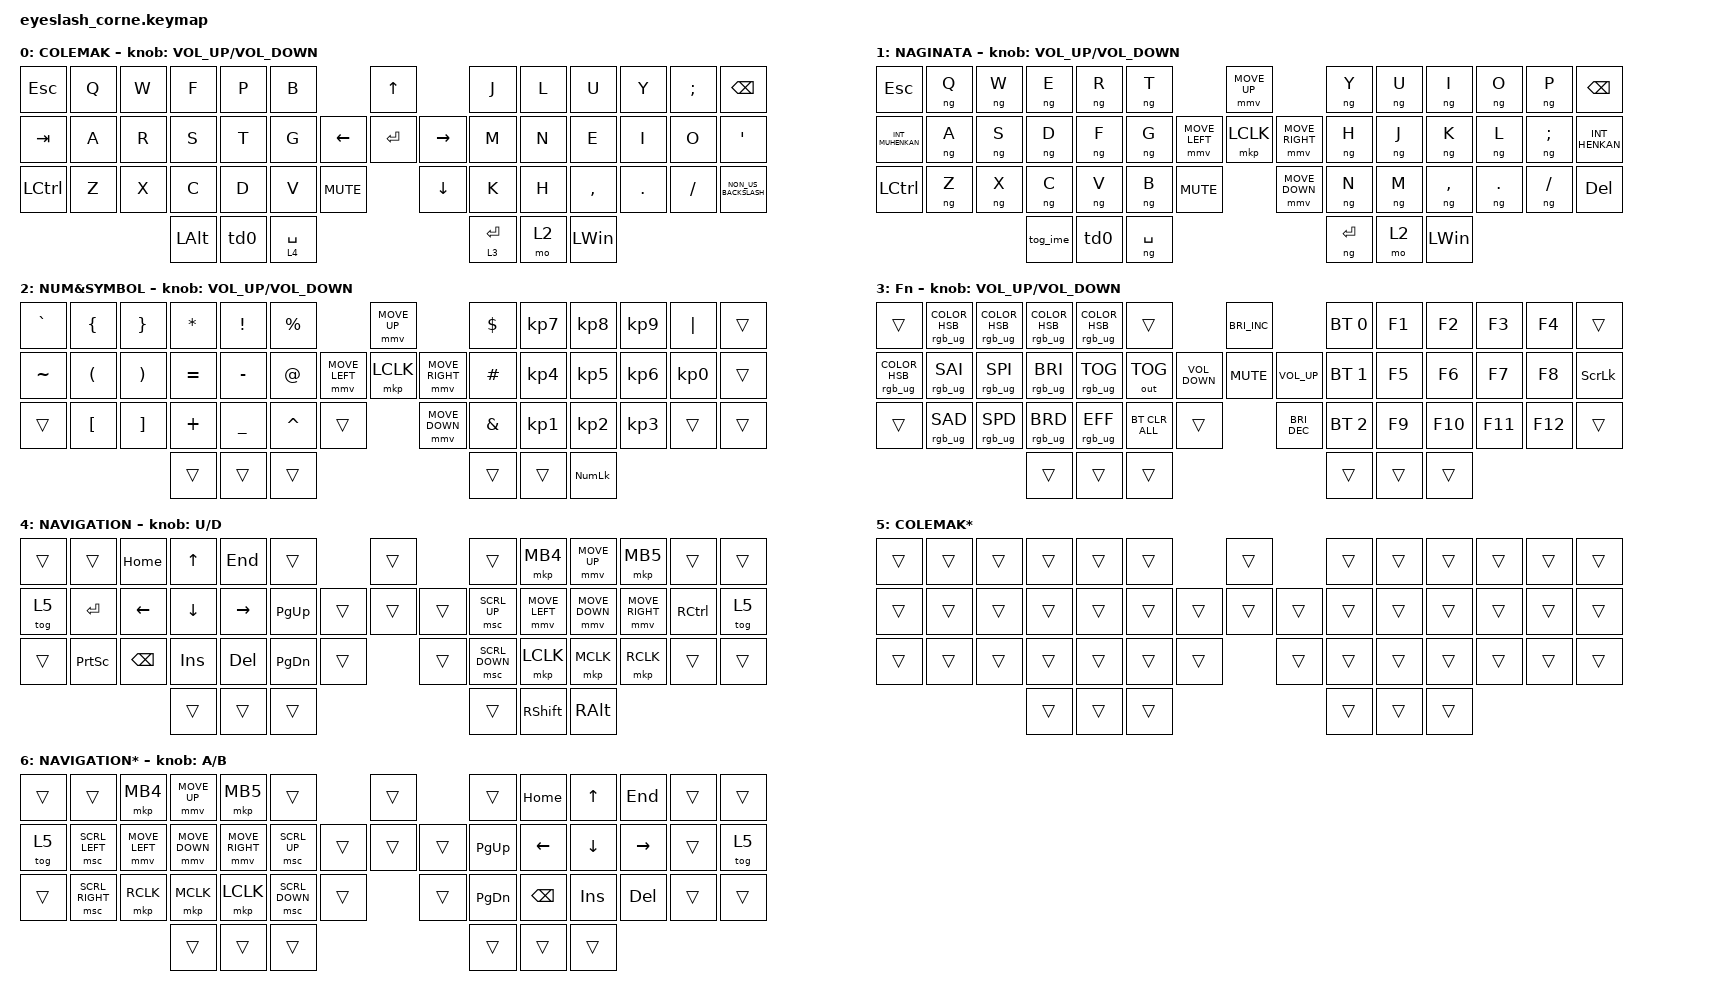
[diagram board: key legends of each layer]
#define ZMK_POINTING_DEFAULT_MOVE_VAL 600  // 600
#define ZMK_POINTING_DEFAULT_SCRL_VAL 25   // 10

#include <input/processors.dtsi>
#include <zephyr/dt-bindings/input/input-event-codes.h>
#include <behaviors/naginata.dtsi>
#include <behaviors.dtsi>
#include <dt-bindings/zmk/bt.h>
#include <dt-bindings/zmk/keys.h>
#include <dt-bindings/zmk/outputs.h>
#include <dt-bindings/zmk/pointing.h>
#include <dt-bindings/zmk/rgb.h>

&mmv_input_listener { input-processors = <&zip_xy_scaler 2 1>; };

&msc_input_listener { input-processors = <&zip_scroll_scaler 2 1>; };

&msc {
    acceleration-exponent = <1>;      // 0
    time-to-max-speed-ms = <100>;       // 300
    delay-ms = <0>;                   // 0
};

&mmv {
    time-to-max-speed-ms = <750>;
    acceleration-exponent = <1>;
    trigger-period-ms = <16>;
};

/ {
    macros {
        to_ng: ng_on {
            compatible = "zmk,behavior-macro";
            #binding-cells = <0>;
            bindings =
                <&macro_tap>,
                <&kp LANGUAGE_1 &kp INTERNATIONAL_4 &to 1>,
                <&macro_press>,
                <&kp LALT &kp LSHIFT>,
                <&macro_tap>,
                <&kp NUMBER_1>,
                <&macro_release>,
                <&kp LALT &kp LSHIFT>;
        };

        to_colemak: ng_off {
            compatible = "zmk,behavior-macro";
            #binding-cells = <0>;
            bindings =
                <&macro_tap>,
                <&kp LANGUAGE_2 &kp INTERNATIONAL_5 &to 0>,
                <&macro_press>,
                <&kp LALT &kp LSHIFT>,
                <&macro_tap>,
                <&kp N0>,
                <&macro_release>,
                <&kp LALT &kp LSHIFT>;
        };

        tog_ime: tog_ime {
            compatible = "zmk,behavior-macro";
            #binding-cells = <0>;
            bindings =
                <&macro_press>,
                <&kp LEFT_ALT>,
                <&macro_tap>,
                <&kp GRAVE>,
                <&macro_release>,
                <&kp LEFT_ALT>;

            label = "TOG_IME";
        };
    };

    sensors {
        compatible = "zmk,keymap-sensors";
        sensors = <&left_encoder>;
        triggers-per-rotation = <20>;
    };

    behaviors {
        td0: td0 {
            compatible = "zmk,behavior-tap-dance";
            display-name = "Shift/Caps Lock Tap Dance";
            #binding-cells = <0>;
            bindings = <&kp LEFT_SHIFT>, <&kp CAPS>;
        };
    };

    rgb_encoder: rgb_encoder {
        compatible = "zmk,behavior-sensor-rotate";
        #sensor-binding-cells = <0>;
        bindings = <&rgb_ug RGB_BRI>, <&rgb_ug RGB_BRD>;
    };

    scroll_encoder: scroll_encoder {
        compatible = "zmk,behavior-sensor-rotate";
        #sensor-binding-cells = <0>;
        bindings = <&msc SCRL_DOWN>, <&msc SCRL_UP>;

        tap-ms = <100>;
    };

    combos {
        compatible = "zmk,combos";

        combo_ng_on {
            timeout-ms = <300>;
            key-positions = <42 47>;
            bindings = <&to_ng>;
            layers = <0>;
        };

        combo_to_eng {
            timeout-ms = <300>;
            key-positions = <42 47>;
            bindings = <&to_colemak>;
            layers = <1>;
        };
    };

    keymap {
        compatible = "zmk,keymap";

        default_layer {
            display-name = "COLEMAK";
            bindings = <
&kp ESC    &kp Q  &kp W  &kp F         &kp P  &kp B                                &kp UP                &kp J        &kp L  &kp U         &kp Y    &kp SEMICOLON  &kp BACKSPACE
&kp TAB    &kp A  &kp R  &kp S         &kp T  &kp G                      &kp LEFT  &kp ENTER  &kp RIGHT  &kp M        &kp N  &kp E         &kp I    &kp O          &kp SQT
&kp LCTRL  &kp Z  &kp X  &kp C         &kp D  &kp V        &kp C_MUTE              &kp DOWN              &kp K        &kp H  &kp COMMA     &kp DOT  &kp FSLH       &kp NON_US_BACKSLASH
                         &kp LEFT_ALT  &td0   &lt 4 SPACE                                                &lt 3 ENTER  &mo 2  &kp LEFT_WIN
            >;

            sensor-bindings = <&inc_dec_kp C_VOLUME_UP C_VOLUME_DOWN>;
        };

        japanese_layer {
            display-name = "NAGINATA";
            bindings = <
&kp ESCAPE        &ng Q  &ng W  &ng E     &ng R  &ng T                                    &mmv MOVE_UP                     &ng Y      &ng U  &ng I         &ng O    &ng P      &kp BACKSPACE
&kp INT_MUHENKAN  &ng A  &ng S  &ng D     &ng F  &ng G                    &mmv MOVE_LEFT  &mkp LCLK       &mmv MOVE_RIGHT  &ng H      &ng J  &ng K         &ng L    &ng SEMI   &kp INT_HENKAN
&kp LCTRL         &ng Z  &ng X  &ng C     &ng V  &ng B      &kp C_MUTE                    &mmv MOVE_DOWN                   &ng N      &ng M  &ng COMMA     &ng DOT  &ng SLASH  &kp DEL
                                &tog_ime  &td0   &ng SPACE                                                                 &ng ENTER  &mo 2  &kp LEFT_WIN
            >;

            sensor-bindings = <&inc_dec_kp C_VOLUME_UP C_VOLUME_DOWN>;
        };

        raise_layer {
            display-name = "NUM&SYMBOL";
            bindings = <
&kp GRAVE  &kp LEFT_BRACE        &kp RIGHT_BRACE        &kp ASTERISK  &kp EXCLAMATION  &kp PERCENT                            &mmv MOVE_UP                     &kp DOLLAR     &kp KP_N7        &kp KP_N8       &kp KP_N9  &kp PIPE   &trans
&kp TILDE  &kp LEFT_PARENTHESIS  &kp RIGHT_PARENTHESIS  &kp EQUAL     &kp MINUS        &kp AT_SIGN            &mmv MOVE_LEFT  &mkp LCLK       &mmv MOVE_RIGHT  &kp HASH       &kp KP_N4        &kp KP_N5       &kp KP_N6  &kp KP_N0  &trans
&trans     &kp LEFT_BRACKET      &kp RIGHT_BRACKET      &kp PLUS      &kp UNDERSCORE   &kp CARET    &trans                    &mmv MOVE_DOWN                   &kp AMPERSAND  &kp KP_NUMBER_1  &kp KP_N2       &kp KP_N3  &trans     &trans
                                                        &trans        &trans           &trans                                                                  &trans         &trans           &kp KP_NUMLOCK
            >;

            sensor-bindings = <&inc_dec_kp C_VOLUME_UP C_VOLUME_DOWN>;
        };

        lower_layer {
            display-name = "Fn";
            bindings = <
&trans                        &rgb_ug RGB_COLOR_HSB(243,100,50)  &rgb_ug RGB_COLOR_HSB(124,100,50)  &rgb_ug RGB_COLOR_HSB(0,100,50)  &rgb_ug RGB_COLOR_HSB(0,0,100)  &trans                                       &kp C_BRI_INC                   &bt BT_SEL 0  &kp F1  &kp F2   &kp F3   &kp F4   &trans
&rgb_ug RGB_COLOR_HSB(0,0,0)  &rgb_ug RGB_SAI                    &rgb_ug RGB_SPI                    &rgb_ug RGB_BRI                  &rgb_ug RGB_TOG                 &out OUT_TOG              &kp C_VOLUME_DOWN  &kp C_MUTE     &kp C_VOLUME_UP  &bt BT_SEL 1  &kp F5  &kp F6   &kp F7   &kp F8   &kp SCROLLLOCK
&trans                        &rgb_ug RGB_SAD                    &rgb_ug RGB_SPD                    &rgb_ug RGB_BRD                  &rgb_ug RGB_EFF                 &bt BT_CLR_ALL  &trans                       &kp C_BRI_DEC                   &bt BT_SEL 2  &kp F9  &kp F10  &kp F11  &kp F12  &trans
                                                                                                    &trans                           &trans                          &trans                                                                       &trans        &trans  &trans
            >;

            sensor-bindings = <&inc_dec_kp C_VOLUME_UP C_VOLUME_DOWN>;
        };

        deep_layer {
            display-name = "NAVIGATION";
            bindings = <
&trans  &trans           &kp HOME  &kp UP    &kp END    &trans                       &trans          &trans          &mkp MB4        &mmv MOVE_UP    &mkp MB5         &trans             &trans
&tog 5  &kp ENTER        &kp LEFT  &kp DOWN  &kp RIGHT  &kp PG_UP            &trans  &trans  &trans  &msc SCRL_UP    &mmv MOVE_LEFT  &mmv MOVE_DOWN  &mmv MOVE_RIGHT  &kp RIGHT_CONTROL  &tog 5
&trans  &kp PRINTSCREEN  &kp BSPC  &kp INS   &kp DEL    &kp PG_DN  &trans            &trans          &msc SCRL_DOWN  &mkp LCLK       &mkp MCLK       &mkp RCLK        &trans             &trans
                                   &trans    &trans     &trans                                       &trans          &kp RSHFT       &kp RIGHT_ALT
            >;

            sensor-bindings = <&inc_dec_kp U D>;
        };

        mouse_state_layer {
            bindings = <
&trans  &trans  &trans  &trans  &trans  &trans                    &trans          &trans  &trans  &trans  &trans  &trans  &trans
&trans  &trans  &trans  &trans  &trans  &trans            &trans  &trans  &trans  &trans  &trans  &trans  &trans  &trans  &trans
&trans  &trans  &trans  &trans  &trans  &trans  &trans            &trans          &trans  &trans  &trans  &trans  &trans  &trans
                        &trans  &trans  &trans                                    &trans  &trans  &trans
            >;

            label = "COLEMAK*";
        };

        mouse_active_layer {
            bindings = <
&trans  &trans           &mkp MB4        &mmv MOVE_UP    &mkp MB5         &trans                            &trans          &trans     &kp HOME  &kp UP    &kp END    &trans  &trans
&tog 5  &msc SCRL_LEFT   &mmv MOVE_LEFT  &mmv MOVE_DOWN  &mmv MOVE_RIGHT  &msc SCRL_UP              &trans  &trans  &trans  &kp PG_UP  &kp LEFT  &kp DOWN  &kp RIGHT  &trans  &tog 5
&trans  &msc SCRL_RIGHT  &mkp RCLK       &mkp MCLK       &mkp LCLK        &msc SCRL_DOWN  &trans            &trans          &kp PG_DN  &kp BSPC  &kp INS   &kp DEL    &trans  &trans
                                         &trans          &trans           &trans                                            &trans     &trans    &trans
            >;

            label = "NAVIGATION*";
            sensor-bindings = <&inc_dec_kp A B>;
        };
    };

    conditional_layers {
        compatible = "zmk,conditional-layers";

        mouse_conditional {
            if-layers = <4 5>;
            then-layer = <6>;
        };
    };
};
